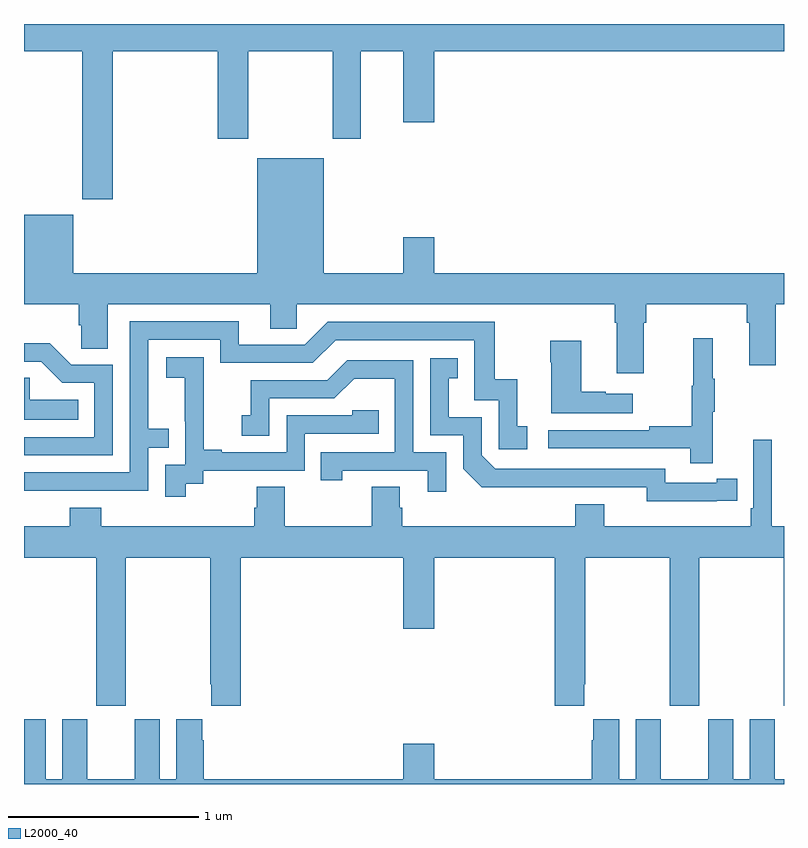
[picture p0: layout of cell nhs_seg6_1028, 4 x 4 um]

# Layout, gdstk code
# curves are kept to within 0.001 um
import gdstk
lib = gdstk.Library(unit=1e-6, precision=1e-09)
def P(c, l, *ps):  # polygons
    for p in ps: c.add(gdstk.Polygon(p, *l))
L2000_40 = (2000, 40)

nhs_seg6_1028 = lib.new_cell('nhs_seg6_1028')
P(nhs_seg6_1028, L2000_40, [(175,927.356),(175.306,927.356),(175.306,926.577),(175.466,926.577),(175.466,927.356),(176.021,927.356),(176.021,926.895),(176.181,926.895),(176.181,927.356),(176.626,927.356),(176.626,926.895),(176.773,926.895),(176.773,927.356),(176.996,927.356),(176.996,926.982),(177.16,926.982),(177.16,927.356),(179,927.356),(179,927.5),(175,927.5)],
  [(178.261,925.928),(178.274,925.928),(178.274,926.024),(178.805,926.024),(178.805,925.928),(178.817,925.928),(178.817,925.704),(178.957,925.704),(178.957,926.024),(179,926.024),(179,926.188),(177.16,926.188),(177.16,926.377),(176.996,926.377),(176.996,926.188),(176.578,926.188),(176.578,926.794),(176.228,926.794),(176.228,926.188),(175.258,926.188),(175.258,926.497),(175,926.497),(175,926.024),(175.289,926.024),(175.289,925.915),(175.302,925.915),(175.302,925.792),(175.441,925.792),(175.441,926.024),(176.297,926.024),(176.297,925.897),(176.436,925.897),(176.436,926.024),(178.109,926.024),(178.109,925.928),(178.121,925.928),(178.121,925.662),(178.261,925.662)],
  [(175.157,925.044),(175.653,925.044),(175.653,925.269),(175.763,925.269),(175.763,925.37),(175.653,925.37),(175.653,925.839),(176.034,925.839),(176.034,925.716),(176.52,925.716),(176.64,925.836),(177.369,925.836),(177.369,925.521),(177.498,925.521),(177.498,925.263),(177.649,925.263),(177.649,925.383),(177.596,925.383),(177.596,925.63),(177.478,925.63),(177.478,925.932),(176.598,925.932),(176.478,925.812),(176.131,925.812),(176.131,925.935),(175.557,925.935),(175.557,925.14),(175,925.14),(175,925.043)],
  [(178.625,925.459),(178.636,925.459),(178.636,925.633),(178.625,925.633),(178.625,925.846),(178.522,925.846),(178.522,925.596),(178.515,925.596),(178.515,925.382),(178.291,925.382),(178.291,925.362),(177.759,925.362),(177.759,925.266),(178.507,925.266),(178.507,925.188),(178.625,925.188)],
  [(178.204,925.555),(178.061,925.555),(178.061,925.565),(177.934,925.565),(177.934,925.834),(177.769,925.834),(177.769,925.721),(177.776,925.721),(177.776,925.451),(178.204,925.451)],
  [(175.467,925.707),(175.248,925.707),(175.135,925.82),(175,925.82),(175,925.722),(175.091,925.722),(175.202,925.611),(175.371,925.611),(175.371,925.326),(175,925.326),(175,925.23),(175.467,925.23)],
  [(175.852,925.081),(175.944,925.081),(175.944,925.149),(176.478,925.149),(176.478,925.344),(176.867,925.344),(176.867,925.467),(176.727,925.467),(176.727,925.44),(176.382,925.44),(176.382,925.245),(176.041,925.245),(176.041,925.258),(175.946,925.258),(175.946,925.541),(175.947,925.541),(175.947,925.747),(175.749,925.747),(175.749,925.637),(175.847,925.637),(175.847,925.409),(175.848,925.409),(175.848,925.179),(175.743,925.179),(175.743,925.011),(175.852,925.011)],
  [(178.646,924.99),(178.754,924.99),(178.754,925.106),(178.646,925.106),(178.646,925.086),(178.374,925.086),(178.374,925.158),(177.48,925.158),(177.408,925.23),(177.408,925.431),(177.235,925.431),(177.235,925.635),(177.284,925.635),(177.284,925.741),(177.138,925.741),(177.138,925.335),(177.312,925.335),(177.312,925.158),(177.41,925.061),(178.278,925.062),(178.278,924.989)],
  [(177.222,925.245),(177.048,925.245),(177.048,925.731),(176.702,925.731),(176.597,925.626),(176.194,925.626),(176.194,925.441),(176.145,925.441),(176.145,925.332),(176.292,925.332),(176.292,925.53),(176.634,925.53),(176.738,925.634),(176.952,925.634),(176.952,925.245),(176.563,925.245),(176.563,925.098),(176.674,925.098),(176.674,925.149),(177.125,925.149),(177.125,925.038),(177.222,925.038)],
  [(175.286,925.522),(175.029,925.522),(175.029,925.637),(175,925.637),(175,925.418),(175.286,925.418)],
  [(175.536,924.692),(175.981,924.692),(175.981,924.025),(175.985,924.025),(175.985,923.913),(176.141,923.913),(176.141,924.692),(176.996,924.692),(176.996,924.318),(177.16,924.318),(177.16,924.692),(177.794,924.692),(177.794,923.913),(177.949,923.913),(177.949,924.025),(177.954,924.025),(177.954,924.692),(178.399,924.692),(178.399,923.913),(178.554,923.913),(178.554,924.692),(178.999,924.692),(178.999,923.913),(179,923.913),(179,924.856),(178.936,924.856),(178.936,925.312),(178.839,925.312),(178.839,924.952),(178.826,924.952),(178.826,924.856),(178.054,924.856),(178.054,924.973),(177.902,924.973),(177.902,924.856),(176.99,924.856),(176.99,924.954),(176.977,924.954),(176.977,925.064),(176.83,925.064),(176.83,924.856),(176.373,924.856),(176.373,925.064),(176.225,925.064),(176.225,924.954),(176.213,924.954),(176.213,924.856),(175.406,924.856),(175.406,924.955),(175.241,924.955),(175.241,924.856),(175,924.856),(175,924.692),(175.381,924.692),(175.381,923.913),(175.536,923.913)],
  [(179,923.524),(178.951,923.524),(178.951,923.842),(178.82,923.842),(178.82,923.524),(178.732,923.524),(178.732,923.842),(178.601,923.842),(178.601,923.524),(178.351,923.524),(178.351,923.842),(178.22,923.842),(178.22,923.524),(178.132,923.524),(178.132,923.842),(177.995,923.842),(177.995,923.729),(177.989,923.729),(177.989,923.524),(177.16,923.524),(177.16,923.713),(176.996,923.713),(176.996,923.524),(175.946,923.524),(175.946,923.729),(175.939,923.729),(175.939,923.842),(175.802,923.842),(175.802,923.524),(175.714,923.524),(175.714,923.842),(175.583,923.842),(175.583,923.524),(175.333,923.524),(175.333,923.842),(175.202,923.842),(175.202,923.524),(175.114,923.524),(175.114,923.842),(175,923.842),(175,923.5),(179,923.5)])

lib.write_gds('nhs_seg6_1028.gds')
